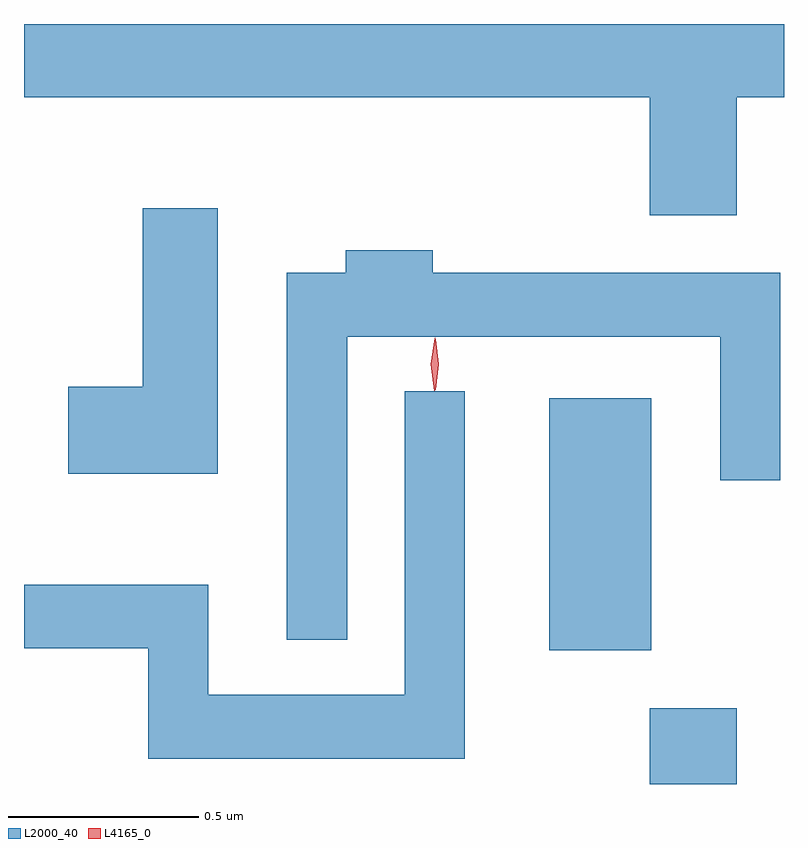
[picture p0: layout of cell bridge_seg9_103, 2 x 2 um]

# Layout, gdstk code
import gdstk
lib = gdstk.Library(unit=1e-6, precision=1e-09)
def R(c, l, rs):  # rectangles x0, y0, x1, y1
    for r in rs: c.add(gdstk.rectangle(r[:2], r[2:], *l))
def P(c, l, *ps):  # polygons
    for p in ps: c.add(gdstk.Polygon(p, *l))
L2000_40 = (2000, 40)
L4165_0 = (4165, 0)

bridge_seg9_103 = lib.new_cell('bridge_seg9_103')
R(bridge_seg9_103, L2000_40, [(1751.761,1981.129,1751.989,1981.329), (1751.496,1981.481,1751.764,1982.144)])
P(bridge_seg9_103, L2000_40, [(1751.989,1982.936),(1752.114,1982.936),(1752.114,1983.129),(1750.114,1983.129),(1750.114,1982.936),(1751.761,1982.936),(1751.761,1982.626),(1751.989,1982.626)],
  [(1750.624,1982.644),(1750.426,1982.644),(1750.426,1982.174),(1750.231,1982.174),(1750.231,1981.946),(1750.624,1981.946)],
  [(1750.964,1982.306),(1751.946,1982.306),(1751.946,1981.928),(1752.104,1981.928),(1752.104,1982.474),(1751.189,1982.474),(1751.189,1982.534),(1750.961,1982.534),(1750.961,1982.474),(1750.806,1982.474),(1750.806,1981.508),(1750.964,1981.508)],
  [(1751.274,1982.163),(1751.116,1982.163),(1751.116,1981.364),(1750.599,1981.364),(1750.599,1981.654),(1750.114,1981.654),(1750.114,1981.486),(1750.441,1981.486),(1750.441,1981.196),(1751.274,1981.196)])
P(bridge_seg9_103, L4165_0, [(1751.194,1982.164),(1751.185,1982.233),(1751.195,1982.302),(1751.196,1982.303),(1751.196,1982.302),(1751.205,1982.233),(1751.195,1982.164),(1751.195,1982.164)],
  [(1751.196,1982.167),(1751.196,1982.167),(1751.186,1982.234),(1751.196,1982.3),(1751.196,1982.301),(1751.197,1982.3),(1751.206,1982.234),(1751.197,1982.167)])

lib.write_gds('bridge_seg9_103.gds')
